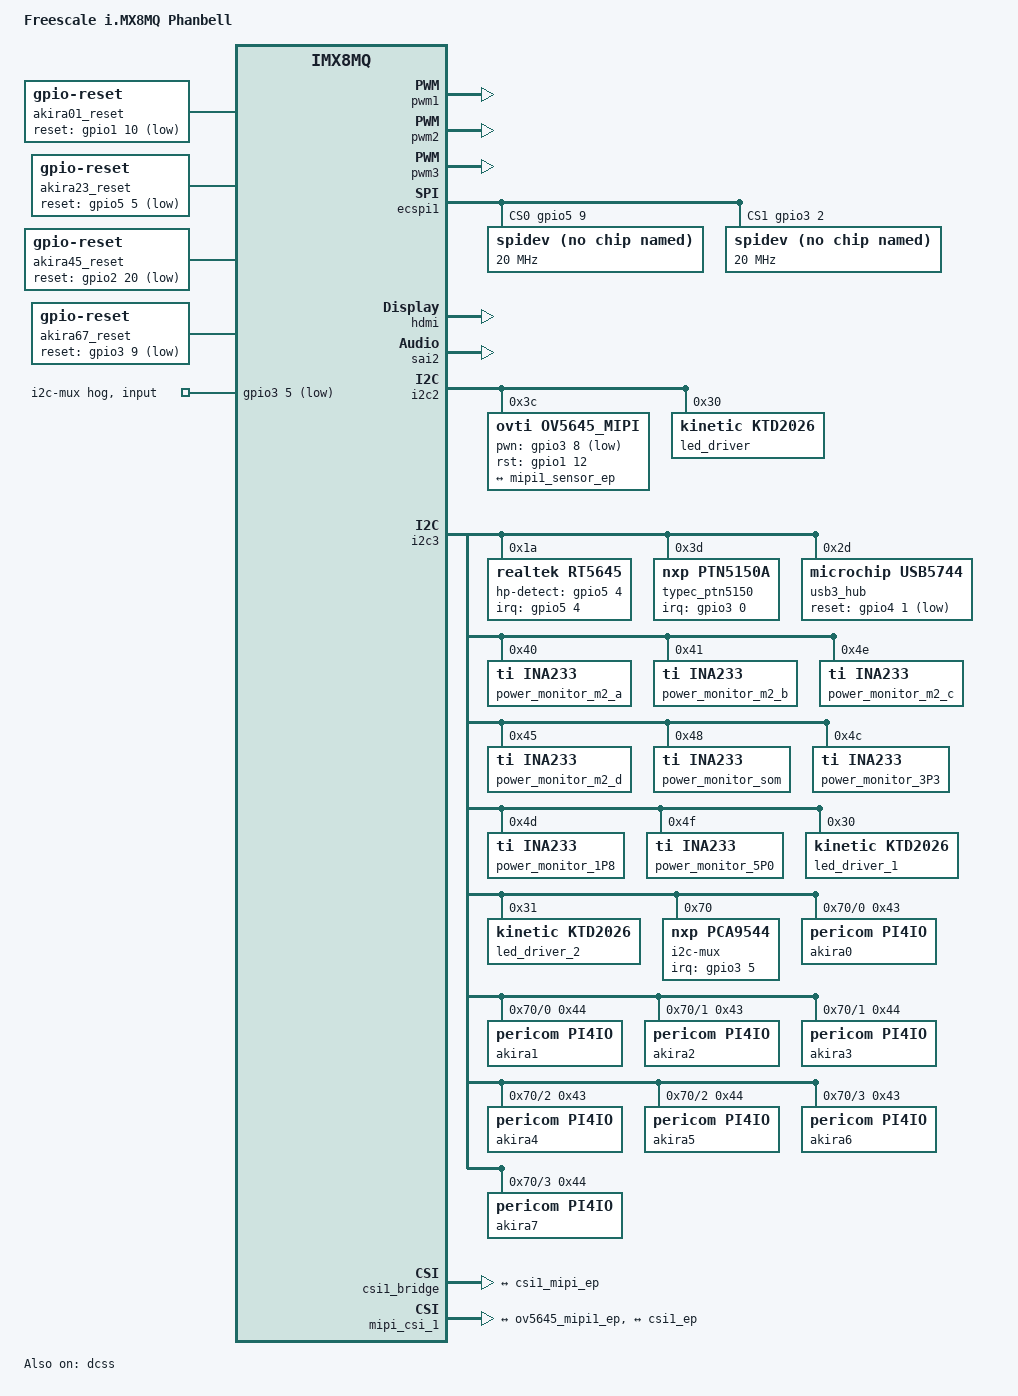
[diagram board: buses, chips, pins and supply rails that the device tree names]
/*
 * Copyright 2018 NXP
 *
 * This program is free software; you can redistribute it and/or
 * modify it under the terms of the GNU General Public License
 * as published by the Free Software Foundation; either version 2
 * of the License, or (at your option) any later version.
 *
 * This program is distributed in the hope that it will be useful,
 * but WITHOUT ANY WARRANTY; without even the implied warranty of
 * MERCHANTABILITY or FITNESS FOR A PARTICULAR PURPOSE.  See the
 * GNU General Public License for more details.
 */

#include "fsl-imx8mq-som.dtsi"

/ {
	model = "Freescale i.MX8MQ Phanbell";
	compatible = "fsl,imx8mq-phanbell", "fsl,imx8mq";

	sound-rt5645 {
		compatible = "google,edgetpu-audio-card";
		model = "edgetpu-audio-card";
		audio-cpu = <&sai2>;
		audio-codec = <&rt5645>;
		google,model = "edgetpu-audio-card";
        status = "okay";
	};

	fan: gpio_fan {
		gpios = <&gpio3 13 GPIO_ACTIVE_LOW>;
		status = "okay";
	};

	yorktown-tpu {
		compatible = "google,yorktown-tpu";

		akira0 {
			compatible = "google,akira";
			status = "okay";
			tpu-gpios = <&akira0 1 GPIO_ACTIVE_HIGH>, // pmic
			            <&akira0 0 GPIO_ACTIVE_LOW>;   // reset
		};

		akira1 {
			compatible = "google,akira";
			status = "okay";
			tpu-gpios = <&akira1 1 GPIO_ACTIVE_HIGH>, // pmic
			            <&akira1 0 GPIO_ACTIVE_LOW>;   // reset
		};

		akira2 {
			compatible = "google,akira";
			status = "okay";
			tpu-gpios = <&akira2 1 GPIO_ACTIVE_HIGH>, // pmic
			            <&akira2 0 GPIO_ACTIVE_LOW>;   // reset
		};

		akira3 {
			compatible = "google,akira";
			status = "okay";
			tpu-gpios = <&akira3 1 GPIO_ACTIVE_HIGH>, // pmic
			            <&akira3 0 GPIO_ACTIVE_LOW>;   // reset
		};

		akira4 {
			compatible = "google,akira";
			status = "okay";
			tpu-gpios = <&akira4 1 GPIO_ACTIVE_HIGH>, // pmic
			            <&akira4 0 GPIO_ACTIVE_LOW>;   // reset
		};

		akira5 {
			compatible = "google,akira";
			status = "okay";
			tpu-gpios = <&akira5 1 GPIO_ACTIVE_HIGH>, // pmic
			            <&akira5 0 GPIO_ACTIVE_LOW>;   // reset
		};
	
		akira6 {
			compatible = "google,akira";
			status = "okay";
			tpu-gpios = <&akira6 1 GPIO_ACTIVE_HIGH>, // pmic
			            <&akira6 0 GPIO_ACTIVE_LOW>;   // reset
		};

		akira7 {
			compatible = "google,akira";
			status = "okay";
			tpu-gpios = <&akira7 1 GPIO_ACTIVE_HIGH>, // pmic
			            <&akira7 0 GPIO_ACTIVE_LOW>;   // reset
		};
	};
	
	akira01_reset: akira01_reset {
		compatible = "gpio-reset";
		pinctrl-0 = <&pinctrl_akira01>;
		pinctrl-names = "default";
		reset-gpios = <&gpio1 10 GPIO_ACTIVE_LOW>;
		reset-delay-us = <150>;
		#reset-cells = <0>;
	};

	akira23_reset: akira23_reset {
		compatible = "gpio-reset";
		pinctrl-0 = <&pinctrl_akira23>;
		pinctrl-names = "default";
		reset-gpios = <&gpio5 5 GPIO_ACTIVE_LOW>;
		reset-delay-us = <150>;
		#reset-cells = <0>;
	};

	akira45_reset: akira45_reset {
		compatible = "gpio-reset";
		pinctrl-0 = <&pinctrl_akira45>;
		pinctrl-names = "default";
		reset-gpios = <&gpio2 20 GPIO_ACTIVE_LOW>;
		reset-delay-us = <150>;
		#reset-cells = <0>;
	};

	akira67_reset: akira67_reset {
		compatible = "gpio-reset";
		pinctrl-0 = <&pinctrl_akira67>;
		pinctrl-names = "default";
		reset-gpios = <&gpio3 9 GPIO_ACTIVE_LOW>;
		reset-delay-us = <150>;
		#reset-cells = <0>;
	};
};


&iomuxc {
	imx8mq-phanbell {
		pinctrl_sai2: sai2grp {
			fsl,pins = <
					MX8MQ_IOMUXC_SAI2_TXFS_SAI2_TX_SYNC     0xd6
					MX8MQ_IOMUXC_SAI2_TXC_SAI2_TX_BCLK      0xd6
					MX8MQ_IOMUXC_SAI2_MCLK_SAI2_MCLK        0xd6
					MX8MQ_IOMUXC_SAI2_TXD0_SAI2_TX_DATA0    0xd6
					MX8MQ_IOMUXC_SAI2_RXD0_SAI2_RX_DATA0    0xd6
					MX8MQ_IOMUXC_SPDIF_RX_GPIO5_IO4         0xd6
				>;
		};
	};
};

&pwm1 {
	pinctrl-names = "default";
	pinctrl-0 = <&pinctrl_pwm1>;
	status = "okay";
};

&pwm2 {
	pinctrl-names = "default";
	pinctrl-0 = <&pinctrl_pwm2>;
	status = "okay";
};

&pwm3 {
	pinctrl-names = "default";
	pinctrl-0 = <&pinctrl_pwm3>;
	status = "okay";
};

&ecspi1 {
	fsl,spi-num-chipselects = <2>;
	pinctrl-names = "default";
	pinctrl-0 = <&pinctrl_ecspi1 &pinctrl_ecspi1_cs>;
	cs-gpios = <&gpio5 9 GPIO_ACTIVE_HIGH>,
		   <&gpio3 2 GPIO_ACTIVE_HIGH>;
	status = "okay";

	spidev@0 {
		#address-cells = <1>;
		#size-cells = <1>;
		compatible = "rohm,dh2228fv";
		spi-max-frequency = <20000000>;
		reg = <0>;
		status = "okay";
	};
	spidev@1 {
		#address-cells = <1>;
		#size-cells = <1>;
		compatible = "rohm,dh2228fv";
		spi-max-frequency = <20000000>;
		reg = <1>;
		status = "okay";
	};

};

&iomuxc {
	pinctrl-names = "default";
	pinctrl-1 = <&pinctrl_gpio>;

	imx8mq-phanbell {
		pinctrl_gpio: gpio_ctrlgrp{
			fsl,pins = <

				/* 40 Pin Header */
				MX8MQ_IOMUXC_GPIO1_IO06_GPIO1_IO6		0x19
				MX8MQ_IOMUXC_GPIO1_IO07_GPIO1_IO7		0x19
				MX8MQ_IOMUXC_GPIO1_IO08_GPIO1_IO8		0x19
				MX8MQ_IOMUXC_SAI5_RXD1_GPIO3_IO22		0x19
				MX8MQ_IOMUXC_SAI5_RXD3_GPIO3_IO24		0x19
				MX8MQ_IOMUXC_SAI1_RXD0_GPIO4_IO2		0x19
				MX8MQ_IOMUXC_SAI1_TXFS_GPIO4_IO10		0x19
				MX8MQ_IOMUXC_SAI1_TXC_GPIO4_IO11		0x19
				MX8MQ_IOMUXC_SAI1_TXD0_GPIO4_IO12		0x19
				MX8MQ_IOMUXC_ECSPI2_SCLK_GPIO5_IO10		0x19
				MX8MQ_IOMUXC_ECSPI2_MISO_GPIO5_IO12		0x19
				MX8MQ_IOMUXC_ECSPI2_SS0_GPIO5_IO13		0x19
				MX8MQ_IOMUXC_SAI1_RXD2_GPIO4_IO4		0x19
				MX8MQ_IOMUXC_SAI1_RXD3_GPIO4_IO5		0x19
				MX8MQ_IOMUXC_SAI1_RXD2_GPIO4_IO4		0x19


				/* 26 Pin Header */
				MX8MQ_IOMUXC_SAI1_TXD6_GPIO4_IO18		0x19
				MX8MQ_IOMUXC_SAI1_RXD6_GPIO4_IO8		0x19
				MX8MQ_IOMUXC_SAI5_RXD2_GPIO3_IO23		0x19
				MX8MQ_IOMUXC_SAI3_RXFS_GPIO4_IO28		0x19
				MX8MQ_IOMUXC_SPDIF_TX_GPIO5_IO3			0x19
				MX8MQ_IOMUXC_SAI1_RXFS_GPIO4_IO0		0x19

				/* Misc */
				MX8MQ_IOMUXC_NAND_DATA07_GPIO3_IO13		0x19

			>;
		};

		pinctrl_pwm1: pwm1 {
			fsl,pins = <
				MX8MQ_IOMUXC_GPIO1_IO01_PWM1_OUT		0x7f
			>;
		};

		pinctrl_pwm2: pwm2 {
			fsl,pins = <
				MX8MQ_IOMUXC_GPIO1_IO13_PWM2_OUT		0x7f
			>;
		};

		pinctrl_pwm3: pwm3 {
			fsl,pins = <
				MX8MQ_IOMUXC_GPIO1_IO14_PWM3_OUT		0x7f
			>;
		};
		pinctrl_ecspi1: ecspi1grp {
			fsl,pins = <
				MX8MQ_IOMUXC_ECSPI1_SCLK_ECSPI1_SCLK		0x82
				MX8MQ_IOMUXC_ECSPI1_MOSI_ECSPI1_MOSI		0x82
				MX8MQ_IOMUXC_ECSPI1_MISO_ECSPI1_MISO		0x82
			>;
		};
		pinctrl_ecspi1_cs: ecspi1_cs_grp {
			fsl,pins = <
				MX8MQ_IOMUXC_ECSPI1_SS0_GPIO5_IO9		0x82
				MX8MQ_IOMUXC_NAND_CE1_B_GPIO3_IO2		0x82
			>;
		};
		pinctrl_usb5744: usb5744 {
			fsl,pins = <
				MX8MQ_IOMUXC_SAI1_RXC_GPIO4_IO1			0x19
			>;
		};

		pinctrl_i2c_mux: pinctrl_mux_grp {
			fsl,pins = <
				MX8MQ_IOMUXC_NAND_CLE_GPIO3_IO5		0x18
			>;
		};

		pinctrl_akira01: pinctrl_akira01_grp {
			fsl,pins = <
				MX8MQ_IOMUXC_GPIO1_IO10_GPIO1_IO10	0x19
			>;
		};

		pinctrl_akira23: pinctrl_akira23_grp {
			fsl,pins = <
				MX8MQ_IOMUXC_SPDIF_EXT_CLK_GPIO5_IO5	0x19
			>;
		};

		pinctrl_akira45: pinctrl_akira45_grp {
			fsl,pins = <
				MX8MQ_IOMUXC_SD2_WP_GPIO2_IO20	0x19
			>;
		};

		pinctrl_akira67: pinctrl_akira67_grp {
			fsl,pins = <
				MX8MQ_IOMUXC_NAND_DATA03_GPIO3_IO9 0x19
			>;
		};
	};
};

&hdmi {
	status = "okay";
};

// &hdmi_cec {
// 	status = "okay";
// };

&dcss {
	disp-dev = "hdmi_disp";
	status = "okay";
};

&sai2 {
	pinctrl-names = "default";
	pinctrl-0 = <&pinctrl_sai2>;
	assigned-clocks =
		<&clk IMX8MQ_CLK_SAI2>;
	assigned-clock-parents = <&clk IMX8MQ_AUDIO_PLL1_OUT>;
	assigned-clock-rates = <24576000>;
	status = "okay";

	clocks = <&clk IMX8MQ_CLK_SAI2_IPG>, <&clk IMX8MQ_CLK_DUMMY>,
		<&clk IMX8MQ_CLK_SAI2_ROOT>, <&clk IMX8MQ_CLK_DUMMY>,
		<&clk IMX8MQ_CLK_DUMMY>, <&clk IMX8MQ_AUDIO_PLL1_OUT>,
		<&clk IMX8MQ_AUDIO_PLL2_OUT>;
	clock-names = "bus", "mclk0", "mclk1", "mclk2", "mclk3", "pll8k", "pll11k";
};

&i2c2 {
	status = "okay";

	ov5645_mipi: ov5645_mipi@3c {
		compatible = "ovti,ov5645_mipi";
		reg = <0x3c>;
		status = "okay";
		pinctrl-names = "default";
		pinctrl-0 = <&pinctrl_csi1>;
		clocks = <&clk IMX8MQ_CLK_DUMMY>;
		clock-names = "csi_mclk";
		csi_id = <0>;
		pwn-gpios = <&gpio3 8 1>;
		rst-gpios = <&gpio1 12 0>;
		mclk = <20000000>;
		mclk_source = <0>;
		ae_target = <52>;
		port {
			ov5645_mipi1_ep: endpoint {
				remote-endpoint = <&mipi1_sensor_ep>;
			};
		};
	};

	led_driver: ktd2027@30 {
		compatible = "kinetic,ktd2026";
		reg = <0x30>;
		status = "okay";
	};
};

&usb_dwc3_0 {
	extcon = <&typec_ptn5150>;
};

&i2c3 {
	status = "okay";

	rt5645: rt5645@1a {
		compatible = "realtek,rt5645";
		reg = <0x1a>;
		clocks = <&clk IMX8MQ_CLK_SAI2_ROOT>;
		clock-names = "mclk1";
		status = "okay";
		realtek,dmic1-data-pin = <2>; // GPIO5
		realtek,jd-mode = <0>;
		realtek,jd-invert;
		realtek,jd-low-volt-enable;
		interrupt-parent = <&gpio5>;
		interrupts = <4 IRQ_TYPE_EDGE_BOTH>;
		hp-detect-gpios = <&gpio5 4 GPIO_ACTIVE_HIGH>;
	};

	typec_ptn5150: ptn5150@3d {
		compatible = "nxp,ptn5150a";
		pinctrl-names = "default";
		pinctrl-0 = <&pinctrl_typec>;
		reg = <0x3d>;
		interrupt-parent = <&gpio3>;
		interrupts = <0 IRQ_TYPE_EDGE_FALLING>;
	};

	usb3_hub: usb5744@2d {
		compatible = "microchip,usb5744";
		pinctrl-names = "default";
		pinctrl-0 = <&pinctrl_usb5744>;
		reg = <0x2d>;
		reset-gpios = <&gpio4 1 GPIO_ACTIVE_LOW>;
	};

	power_monitor_m2_a: power_monitor_m2_a@40 {
		compatible = "ti,ina233";
		reg = <0x40>;
		shunt-resistor = <20000>;
	};

	power_monitor_m2_b: power_monitor_m2_b@41 {
		compatible = "ti,ina233";
		reg = <0x41>;
		shunt-resistor = <20000>;
	};

	power_monitor_m2_c: power_monitor_m2_c@4e {
		compatible = "ti,ina233";
		reg = <0x4e>;
		shunt-resistor = <20000>;
	};

	power_monitor_m2_d: power_monitor_m2_d@45 {
		compatible = "ti,ina233";
		reg = <0x45>;
		shunt-resistor = <20000>;
	};

	power_monitor_som: power_monitor_som@48 {
		compatible = "ti,ina233";
		reg = <0x48>;
		shunt-resistor = <20000>;
	};

	power_monitor_3P3: power_monitor_3P3@4c {
		compatible = "ti,ina233";
		reg = <0x4c>;
		shunt-resistor = <20000>;
	};

	power_monitor_1P8: power_monitor_1P8@4d {
		compatible = "ti,ina233";
		reg = <0x4d>;
		shunt-resistor = <20000>;
	};

	power_monitor_5P0: power_monitor_5P04f {
		compatible = "ti,ina233";
		reg = <0x4f>;
		shunt-resistor = <20000>;
	};


	led_driver_1: ktd2027@30 {
		compatible = "kinetic,ktd2026";
		reg = <0x30>;
		status = "okay";
	};

	led_driver_2: ktd2027@31 {
		compatible = "kinetic,ktd2026";
		reg = <0x31>;
		status = "okay";
	};

	i2c-mux@70 {
		compatible = "nxp,pca9544";
		#address-cells = <1>;
		#size-cells = <0>;
		reg = <0x70>;
		i2c-mux-idle-disconnect;
		pinctrl-0 = <&pinctrl_i2c_mux>;
		pinctrl-names = "default";

		interrupt-parent = <&gpio3>;
		interrupts = <5 IRQ_TYPE_EDGE_FALLING>;
		interrupt-controller;
		#interrupt-cells = <2>;

		i2c@0 {
			#address-cells = <1>;
			#size-cells = <0>;
			reg = <0>;

			akira0: gpio@43 {
				compatible = "pericom,pi4io";
				reg = <0x43>;
				#gpio-cells = <2>;
				gpio-controller;
				resets = <&akira01_reset>;
			};

			akira1: gpio@44 {
				compatible = "pericom,pi4io";
				reg = <0x44>;
				#gpio-cells = <2>;
				gpio-controller;
				resets = <&akira01_reset>;
			};
		};

		i2c@1 {
			#address-cells = <1>;
			#size-cells = <0>;
			reg = <1>;

			akira2: gpio@43 {
				compatible = "pericom,pi4io";
				reg = <0x43>;
				#gpio-cells = <2>;
				gpio-controller;
				resets = <&akira23_reset>;
			};

			akira3: gpio@44 {
				compatible = "pericom,pi4io";
				reg = <0x44>;
				#gpio-cells = <2>;
				gpio-controller;
				resets = <&akira23_reset>;
			};
		};

		i2c@2 {
			#address-cells = <1>;
			#size-cells = <0>;
			reg = <2>;

			akira4: gpio@43 {
				compatible = "pericom,pi4io";
				reg = <0x43>;
				#gpio-cells = <2>;
				gpio-controller;
				resets = <&akira45_reset>;
			};

			akira5: gpio@44 {
				compatible = "pericom,pi4io";
				reg = <0x44>;
				#gpio-cells = <2>;
				gpio-controller;
				resets = <&akira45_reset>;
			};
		};

		i2c@3 {
			#address-cells = <1>;
			#size-cells = <0>;
			reg = <3>;

			akira6: gpio@43 {
				compatible = "pericom,pi4io";
				reg = <0x43>;
				#gpio-cells = <2>;
				gpio-controller;
				resets = <&akira67_reset>;
			};

			akira7: gpio@44 {
				compatible = "pericom,pi4io";
				reg = <0x44>;
				#gpio-cells = <2>;
				gpio-controller;
				resets = <&akira67_reset>;
			};
		};
	};
};

&gpio3 {
	i2c-mux {
		gpio-hog;
		gpios = <5 GPIO_ACTIVE_LOW>;
		input;
	};
};

&csi1_bridge {
	fsl,mipi-mode;
	fsl,two-8bit-sensor-mode;
	status = "okay";

	port {
		csi1_ep: endpoint {
			remote-endpoint = <&csi1_mipi_ep>;
		};
	};
};

&mipi_csi_1 {
	#address-cells = <1>;
	#size-cells = <0>;
	status = "okay";
	port {
		mipi1_sensor_ep: endpoint1 {
			remote-endpoint = <&ov5645_mipi1_ep>;
			data-lanes = <1 2>;
		};

		csi1_mipi_ep: endpoint2 {
			remote-endpoint = <&csi1_ep>;
		};
	};
};

&iomuxc {
	pinctrl-names = "default";
	pinctrl-0 = <&pinctrl_hog>;

	imx8mq-phanbell {
		pinctrl_csi1: csi1grp {
			fsl,pins = <
				MX8MQ_IOMUXC_NAND_DATA02_GPIO3_IO8			0x19 /* PWDN */
				MX8MQ_IOMUXC_GPIO1_IO12_GPIO1_IO12			0x19 /* RESETB */
				/* vsync pin mux? can't find in schematic */
			>;
		};
	};
};
